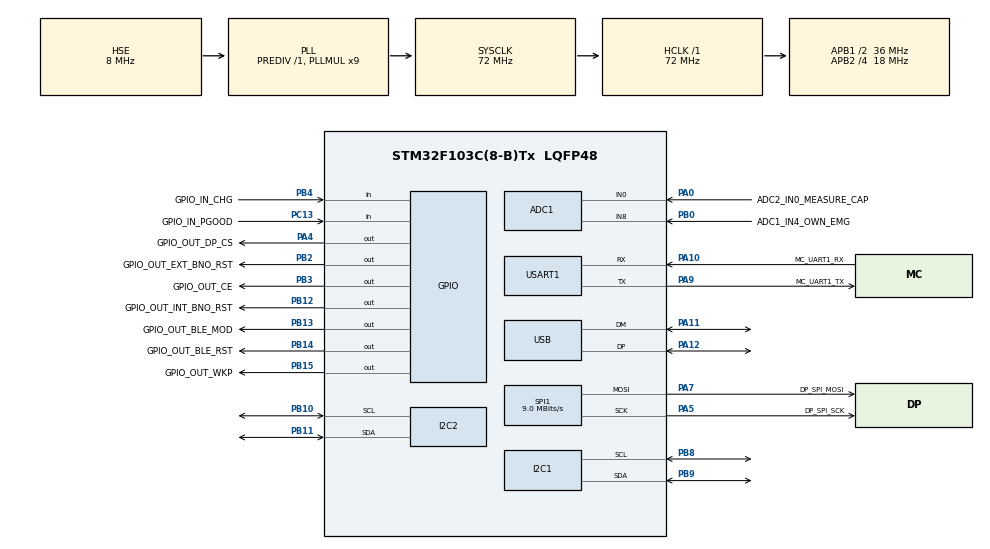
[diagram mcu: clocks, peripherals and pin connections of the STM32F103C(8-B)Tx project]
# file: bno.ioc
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ADC1.Channel-0\#ChannelRegularConversion=ADC_CHANNEL_0
ADC1.NbrOfConversionFlag=1
ADC1.Rank-0\#ChannelRegularConversion=1
ADC1.SamplingTime-0\#ChannelRegularConversion=ADC_SAMPLETIME_1CYCLE_5
ADC1.master=1
ADC2.Channel-0\#ChannelRegularConversion=ADC_CHANNEL_0
ADC2.NbrOfConversionFlag=1
ADC2.Rank-0\#ChannelRegularConversion=1
ADC2.SamplingTime-0\#ChannelRegularConversion=ADC_SAMPLETIME_1CYCLE_5
Mcu.Family=STM32F1
Mcu.Name=STM32F103C(8-B)Tx
Mcu.Package=LQFP48
NVIC.PriorityGroup=NVIC_PRIORITYGROUP_4
PA0-WKUP.GPIO_Label=ADC2_IN0_MEASURE_CAP
PA0-WKUP.Signal=ADCx_IN0
PA10.GPIO_Label=MC_UART1_RX
PA10.Mode=Asynchronous
PA10.Signal=USART1_RX
PA11.Mode=Device
PA11.Signal=USB_DM
PA12.Mode=Device
PA12.Signal=USB_DP
PA13.Mode=Serial_Wire
PA13.Signal=SYS_JTMS-SWDIO
PA14.Mode=Serial_Wire
PA14.Signal=SYS_JTCK-SWCLK
PA4.GPIO_Label=GPIO_OUT_DP_CS
PA4.GPIO_PuPd=GPIO_NOPULL
PA4.GPIO_Speed=GPIO_SPEED_FREQ_LOW
PA4.PinState=GPIO_PIN_SET
PA4.Signal=GPIO_Output
PA5.GPIO_Label=DP_SPI_SCK
PA5.Mode=TX_Only_Simplex_Unidirect_Master
PA5.Signal=SPI1_SCK
PA7.GPIO_Label=DP_SPI_MOSI
PA7.Mode=TX_Only_Simplex_Unidirect_Master
PA7.Signal=SPI1_MOSI
PA9.GPIO_Label=MC_UART1_TX
PA9.Mode=Asynchronous
PA9.Signal=USART1_TX
PB0.GPIO_Label=ADC1_IN4_OWN_EMG
PB0.Signal=ADCx_IN8
PB10.Mode=I2C
PB10.Signal=I2C2_SCL
PB11.Mode=I2C
PB11.Signal=I2C2_SDA
PB12.GPIO_Label=GPIO_OUT_INT_BNO_RST
PB12.GPIO_PuPd=GPIO_NOPULL
PB12.PinState=GPIO_PIN_SET
PB12.Signal=GPIO_Output
PB13.GPIO_Label=GPIO_OUT_BLE_MOD
PB13.PinState=GPIO_PIN_SET
PB13.Signal=GPIO_Output
PB14.GPIO_Label=GPIO_OUT_BLE_RST
PB14.PinState=GPIO_PIN_SET
PB14.Signal=GPIO_Output
PB15.GPIO_Label=GPIO_OUT_WKP
PB15.Signal=GPIO_Output
PB2.GPIO_Label=GPIO_OUT_EXT_BNO_RST
PB2.PinState=GPIO_PIN_SET
PB2.Signal=GPIO_Output
PB3.GPIO_Label=GPIO_OUT_CE
PB3.Signal=GPIO_Output
PB4.GPIO_Label=GPIO_IN_CHG
PB4.GPIO_PuPd=GPIO_PULLUP
PB4.Signal=GPIO_Input
PB8.Mode=I2C
PB8.Signal=I2C1_SCL
PB9.Mode=I2C
PB9.Signal=I2C1_SDA
PC13-TAMPER-RTC.GPIO_Label=GPIO_IN_PGOOD
PC13-TAMPER-RTC.GPIO_PuPd=GPIO_PULLUP
PC13-TAMPER-RTC.Signal=GPIO_Input
PD0-OSC_IN.Mode=HSE-External-Oscillator
PD0-OSC_IN.Signal=RCC_OSC_IN
PD1-OSC_OUT.Mode=HSE-External-Oscillator
PD1-OSC_OUT.Signal=RCC_OSC_OUT
ProjectManager.HeapSize=0x200
ProjectManager.StackSize=0x400
ProjectManager.TargetToolchain=STM32CubeIDE
RCC.AHBFreq_Value=72000000
RCC.APB1CLKDivider=RCC_HCLK_DIV2
RCC.APB1Freq_Value=36000000
RCC.APB1TimFreq_Value=72000000
RCC.APB2CLKDivider=RCC_HCLK_DIV4
RCC.APB2Freq_Value=18000000
RCC.APB2TimFreq_Value=36000000
RCC.HCLKFreq_Value=72000000
RCC.PLLMUL=RCC_PLL_MUL9
RCC.SYSCLKFreq_VALUE=72000000
RCC.SYSCLKSource=RCC_SYSCLKSOURCE_PLLCLK
RCC.USBFreq_Value=48000000
RCC.USBPrescaler=RCC_USBCLKSOURCE_PLL_DIV1_5
SH.ADCx_IN0.0=ADC1_IN0,IN0
SH.ADCx_IN0.1=ADC2_IN0,IN0
SH.ADCx_IN8.0=ADC1_IN8,IN8
SPI1.CalculateBaudRate=9.0 MBits/s
SPI1.Direction=SPI_DIRECTION_2LINES
SPI1.Mode=SPI_MODE_MASTER
SPI1.VirtualType=VM_MASTER
USART1.VirtualMode=VM_ASYNC
board=custom

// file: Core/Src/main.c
/* USER CODE BEGIN Header */
/**
  ******************************************************************************
  * @file           : main.c
  * @brief          : Main program body
  ******************************************************************************
  * @attention
  *
  * Copyright (c) 2026 STMicroelectronics.
  * All rights reserved.
  *
  * This software is licensed under terms that can be found in the LICENSE file
  * in the root directory of this software component.
  * If no LICENSE file comes with this software, it is provided AS-IS.
  *
  ******************************************************************************
  */
/* USER CODE END Header */
#include "main.h"
#include "adc.h"
#include "i2c.h"
#include "spi.h"
#include "usart.h"
#include "gpio.h"

/* USER CODE BEGIN Includes */
#include "bno055_stm32.h"
/* USER CODE END Includes */

/* USER CODE BEGIN PV */
// Данные датчиков
volatile bno055_vector_t bno_acc;
volatile bno055_vector_t bno_gyr;
volatile bno055_vector_t bno_mag;
volatile bno055_vector_t bno_euler;
volatile bno055_vector_t bno_quat;
volatile bno055_vector_t bno_lin;
volatile bno055_vector_t bno_grav;

// Калибровка каждого датчика (0-3)
volatile bno055_calibration_state_t bno_cal;

// Диагностика
volatile int8_t bno_temp;
volatile uint8_t bno_sys_status;
volatile uint8_t bno_sys_error;
volatile bno055_self_test_result_t bno_self_test;

// Отдельные углы Эйлера для удобства отладки
volatile double bno_heading;
volatile double bno_roll;
volatile double bno_pitch;

// Коэффициенты калибровки
volatile bno055_calibration_data_t bno_cal_data;

// Установить в 1 через Debug для чтения коэффициентов
volatile uint8_t bno_read_cal_data = 0;
/* USER CODE END PV */

void SystemClock_Config(void);

int main(void)
{

  /* MCU Configuration--------------------------------------------------------*/

  /* Reset of all peripherals, Initializes the Flash interface and the Systick. */
  HAL_Init();

  /* Configure the system clock */
  SystemClock_Config();

  /* Initialize all configured peripherals */
  MX_GPIO_Init();
  MX_I2C2_Init();
  MX_ADC1_Init();
  MX_ADC2_Init();
  MX_I2C1_Init();
  MX_USART1_UART_Init();
  MX_USB_PCD_Init();
  MX_SPI1_Init();
  /* USER CODE BEGIN 2 */
  bno055_assignI2C(&hi2c1);
  bno055_setup();
  bno055_setOperationModeNDOF();
  /* USER CODE END 2 */

  /* Infinite loop */
  while (1)
  {

	  // Акселерометр
	  bno_acc = bno055_getVectorAccelerometer();

	  // Гироскоп
	  bno_gyr = bno055_getVectorGyroscope();

	  // Магнитометр
	  bno_mag = bno055_getVectorMagnetometer();

	  // Углы Эйлера
	  bno_euler = bno055_getVectorEuler();

	  // Кватернионы
	  bno_quat = bno055_getVectorQuaternion();

	  // Линейное ускорение
	  bno_lin = bno055_getVectorLinearAccel();

	  // Гравитация
	  bno_grav = bno055_getVectorGravity();

	  // Калибровка
	  bno_cal = bno055_getCalibrationState();

	  // Диагностика
	  bno_temp = bno055_getTemp();
	  bno_sys_status = bno055_getSystemStatus();
	  bno_sys_error = bno055_getSystemError();
	  bno_self_test = bno055_getSelfTestResult();

	  // Углы Эйлера отдельными переменными
	  bno_heading = bno_euler.x;
	  bno_roll    = bno_euler.y;
	  bno_pitch   = bno_euler.z;

	  // Коэффициенты калибровки по запросу
	  if (bno_read_cal_data)
	  {
	      bno_read_cal_data = 0;
	      bno_cal_data = bno055_getCalibrationData();
	  }

	  HAL_Delay(20);

  }
}

void SystemClock_Config(void)
{
  RCC_OscInitTypeDef RCC_OscInitStruct = {0};
  RCC_ClkInitTypeDef RCC_ClkInitStruct = {0};
  RCC_PeriphCLKInitTypeDef PeriphClkInit = {0};

  /** Initializes the RCC Oscillators according to the specified parameters
  * in the RCC_OscInitTypeDef structure.
  */
  RCC_OscInitStruct.OscillatorType = RCC_OSCILLATORTYPE_HSE;
  RCC_OscInitStruct.HSEState = RCC_HSE_ON;
  RCC_OscInitStruct.HSEPredivValue = RCC_HSE_PREDIV_DIV1;
  RCC_OscInitStruct.HSIState = RCC_HSI_ON;
  RCC_OscInitStruct.PLL.PLLState = RCC_PLL_ON;
  RCC_OscInitStruct.PLL.PLLSource = RCC_PLLSOURCE_HSE;
  RCC_OscInitStruct.PLL.PLLMUL = RCC_PLL_MUL9;
  if (HAL_RCC_OscConfig(&RCC_OscInitStruct) != HAL_OK)
  {
    Error_Handler();
  }

  /** Initializes the CPU, AHB and APB buses clocks
  */
  RCC_ClkInitStruct.ClockType = RCC_CLOCKTYPE_HCLK|RCC_CLOCKTYPE_SYSCLK
                              |RCC_CLOCKTYPE_PCLK1|RCC_CLOCKTYPE_PCLK2;
  RCC_ClkInitStruct.SYSCLKSource = RCC_SYSCLKSOURCE_PLLCLK;
  RCC_ClkInitStruct.AHBCLKDivider = RCC_SYSCLK_DIV1;
  RCC_ClkInitStruct.APB1CLKDivider = RCC_HCLK_DIV2;
  RCC_ClkInitStruct.APB2CLKDivider = RCC_HCLK_DIV4;

  if (HAL_RCC_ClockConfig(&RCC_ClkInitStruct, FLASH_LATENCY_2) != HAL_OK)
  {
    Error_Handler();
  }
  PeriphClkInit.PeriphClockSelection = RCC_PERIPHCLK_ADC|RCC_PERIPHCLK_USB;
  PeriphClkInit.AdcClockSelection = RCC_ADCPCLK2_DIV2;
  PeriphClkInit.UsbClockSelection = RCC_USBCLKSOURCE_PLL_DIV1_5;
  if (HAL_RCCEx_PeriphCLKConfig(&PeriphClkInit) != HAL_OK)
  {
    Error_Handler();
  }
}

void Error_Handler(void)
{
  __disable_irq();
  while (1)
  {
  }
}
